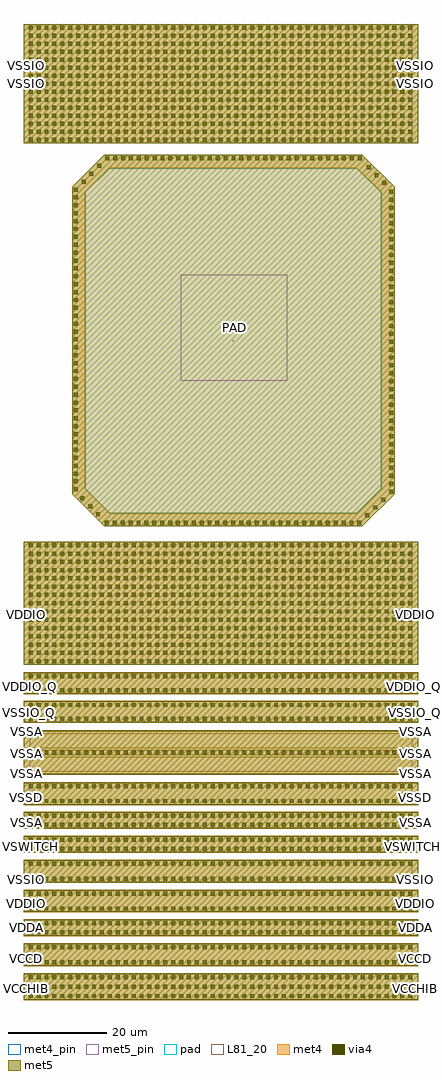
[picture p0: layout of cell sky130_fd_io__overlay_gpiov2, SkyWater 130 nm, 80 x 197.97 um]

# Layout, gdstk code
import gdstk
lib = gdstk.Library(unit=1e-6, precision=1e-09)
def R(c, l, rs):  # rectangles x0, y0, x1, y1
    for r in rs: c.add(gdstk.rectangle(r[:2], r[2:], *l))
def A(c, l, x, y, w, h, nx, ny, dx, dy):  # array of equal rectangles
    R(c, l, [(x+i*dx, y+j*dy, x+i*dx+w, y+j*dy+h) for i in range(nx) for j in range(ny)])
def P(c, l, *ps):  # polygons
    for p in ps: c.add(gdstk.Polygon(p, *l))
met4_pin = (71, 16)
met4 = (71, 20)
via4 = (71, 44)
met5_pin = (72, 16)
met5 = (72, 20)
pad = (76, 20)
L81_20 = (81, 20)

sky130_fd_io__com_bus_sl = lib.new_cell('sky130_fd_io__com_bus_slice_m4')
R(sky130_fd_io__com_bus_sl, met4, [(0,31.575,5,37.025), (0,38.425,5,43.075), (0,44.475,5,47.925), (0,49.325,5,53.975), (0,55.375,5,60.025), (0,61.425,5,64.875), (0,66.275,5,69.725), (0,71.125,5,75.775), (0,77.275,5,77.605), (0,77.905,5,80.885), (0,81.185,5,82.365), (0,82.665,5,85.645), (0,85.945,5,86.275), (0,87.775,5,92.225), (0,93.625,5,98.075), (0,99.575,5,124.54), (0,205.325,5,229.54)])

sky130_fd_pr__gendlring_ = lib.new_cell('sky130_fd_pr__gendlring__example_559591418081')

sky130_fd_pr__genrivetdl = lib.new_cell('sky130_fd_pr__genrivetdlring__example_559591418082')
A(sky130_fd_pr__genrivetdl, via4, 6.355, 0, 0.8, 0.8, 33, 1, 1.6, 0)
A(sky130_fd_pr__genrivetdl, via4, 63.98, 6.355, 0.8, 0.8, 1, 39, 0, 1.6)
A(sky130_fd_pr__genrivetdl, via4, 0, 6.825, 0.8, 0.8, 1, 39, 0, 1.6)
A(sky130_fd_pr__genrivetdl, via4, 6.425, 73.98, 0.8, 0.8, 33, 1, 1.6, 0)
R(sky130_fd_pr__genrivetdl, via4, [(59.165,1.54,59.965,2.34), (4.545,1.81,5.345,2.61), (60.765,3.14,61.565,3.94), (2.945,3.41,3.745,4.21), (62.365,4.74,63.165,5.54), (1.345,5.01,2.145,5.81), (62.635,68.97,63.435,69.77), (1.615,69.24,2.415,70.04), (61.035,70.57,61.835,71.37), (3.215,70.84,4.015,71.64), (59.435,72.17,60.235,72.97), (4.815,72.44,5.615,73.24)])

sky130_fd_pr__padplhp__e = lib.new_cell('sky130_fd_pr__padplhp__example_559591418080')
P(sky130_fd_pr__padplhp__e, met4, [(4.95,70),(0,65.05),(0,4.95),(-2.7,3.83),(-2.7,66.17),(3.83,72.7)],
  [(60,65.05),(55.05,70),(4.95,70),(3.83,72.7),(56.17,72.7),(62.7,66.17)],
  [(55.05,0),(60,4.95),(60,65.05),(62.7,66.17),(62.7,3.83),(56.17,-2.7)],
  [(0,4.95),(4.95,0),(55.05,0),(56.17,-2.7),(3.83,-2.7),(-2.7,3.83)])
P(sky130_fd_pr__padplhp__e, met5, [(3.83,-2.7),(56.17,-2.7),(62.7,3.83),(62.7,66.17),(56.17,72.7),(3.83,72.7),(-2.7,66.17),(-2.7,3.83)])
P(sky130_fd_pr__padplhp__e, pad, [(4.95,0),(55.05,0),(60,4.95),(60,65.05),(55.05,70),(4.95,70),(0,65.05),(0,4.95)])
R(sky130_fd_pr__padplhp__e, L81_20, [(29.9,34.9,30.1,35.1)])
sky130_fd_pr__padplhp__e.add(gdstk.Reference(sky130_fd_pr__gendlring_, (0,0)))
sky130_fd_pr__padplhp__e.add(gdstk.Reference(sky130_fd_pr__genrivetdl, (-2.39,-2.39)))
sky130_fd_pr__padplhp__e.add(gdstk.Label('HP', (30,33.333), layer=83, texttype=44))
sky130_fd_pr__padplhp__e.add(gdstk.Label('PLASTIC', (30,35), layer=83, texttype=44))
sky130_fd_pr__padplhp__e.add(gdstk.Label('PLASTIC', (30,35), layer=83, texttype=44))

sky130_fd_io__top_gpio_p = lib.new_cell('sky130_fd_io__top_gpio_pad')
sky130_fd_io__top_gpio_p.add(gdstk.Reference(sky130_fd_pr__padplhp__e, (7.5,97.655)))

sky130_fd_io__overlay_gp = lib.new_cell('sky130_fd_io__overlay_gpiov2_m4')
R(sky130_fd_io__overlay_gp, met4_pin, [(0,2.035,1.27,7.485), (78.73,2.035,80,7.485), (0,8.885,1.27,13.535), (78.73,8.885,80,13.535), (0,14.935,0.965,18.385), (79.035,14.935,80,18.385), (0,19.785,1.27,24.435), (78.73,19.785,80,24.435), (0,25.835,1.27,30.485), (78.73,25.835,80,30.485), (0,31.885,1.27,35.335), (78.73,31.885,80,35.335), (0,36.735,1.27,40.185), (78.73,36.735,80,40.185), (0,41.585,1.27,46.235), (78.73,41.585,80,46.235), (0,47.735,1.27,48.065), (78.73,47.735,80,48.065), (0,48.365,1.27,51.345), (78.73,48.365,80,51.345), (0,51.645,1.27,52.825), (78.73,51.645,80,52.825), (0,53.125,1.27,56.105), (78.73,53.125,80,56.105), (0,56.405,1.27,56.735), (78.73,56.405,80,56.735), (0,58.235,1.27,62.685), (78.73,58.235,80,62.685), (0,64.085,1.27,68.535), (78.73,64.085,80,68.535), (0,70.035,1.27,95), (78.73,70.035,80,95), (0,175.785,1.27,200), (78.73,175.785,80,200)])
R(sky130_fd_io__overlay_gp, met5_pin, [(31.83,127.59,53.37,149.135)])
sky130_fd_io__overlay_gp.add(gdstk.Reference(sky130_fd_io__com_bus_sl, (5,-29.54)))
sky130_fd_io__overlay_gp.add(gdstk.Reference(sky130_fd_io__com_bus_sl, (10,-29.54)))
sky130_fd_io__overlay_gp.add(gdstk.Reference(sky130_fd_io__com_bus_sl, (15,-29.54)))
sky130_fd_io__overlay_gp.add(gdstk.Reference(sky130_fd_io__com_bus_sl, (25,-29.54)))
sky130_fd_io__overlay_gp.add(gdstk.Reference(sky130_fd_io__com_bus_sl, (30,-29.54)))
sky130_fd_io__overlay_gp.add(gdstk.Reference(sky130_fd_io__com_bus_sl, (20,-29.54)))
sky130_fd_io__overlay_gp.add(gdstk.Reference(sky130_fd_io__com_bus_sl, (35,-29.54)))
sky130_fd_io__overlay_gp.add(gdstk.Reference(sky130_fd_io__com_bus_sl, (40,-29.54)))
sky130_fd_io__overlay_gp.add(gdstk.Reference(sky130_fd_io__com_bus_sl, (45,-29.54)))
sky130_fd_io__overlay_gp.add(gdstk.Reference(sky130_fd_io__com_bus_sl, (50,-29.54)))
sky130_fd_io__overlay_gp.add(gdstk.Reference(sky130_fd_io__com_bus_sl, (75,-29.54)))
sky130_fd_io__overlay_gp.add(gdstk.Reference(sky130_fd_io__com_bus_sl, (70,-29.54)))
sky130_fd_io__overlay_gp.add(gdstk.Reference(sky130_fd_io__com_bus_sl, (65,-29.54)))
sky130_fd_io__overlay_gp.add(gdstk.Reference(sky130_fd_io__com_bus_sl, (60,-29.54)))
sky130_fd_io__overlay_gp.add(gdstk.Reference(sky130_fd_io__com_bus_sl, (55,-29.54)))
sky130_fd_io__overlay_gp.add(gdstk.Reference(sky130_fd_io__com_bus_sl, (0,-29.54)))
sky130_fd_io__overlay_gp.add(gdstk.Reference(sky130_fd_io__top_gpio_p, (5,3.13)))
sky130_fd_io__overlay_gp.add(gdstk.Label('AMUXBUS_B', (0.635,49.245), layer=71, texttype=5))
sky130_fd_io__overlay_gp.add(gdstk.Label('VSSD', (0.635,43.135), layer=71, texttype=5))
sky130_fd_io__overlay_gp.add(gdstk.Label('VSSA', (0.635,38.09), layer=71, texttype=5))
sky130_fd_io__overlay_gp.add(gdstk.Label('VSSA', (0.635,56.565), layer=71, texttype=5))
sky130_fd_io__overlay_gp.add(gdstk.Label('AMUXBUS_A', (0.635,54.595), layer=71, texttype=5))
sky130_fd_io__overlay_gp.add(gdstk.Label('VDDA', (0.48,16.74), layer=71, texttype=5))
sky130_fd_io__overlay_gp.add(gdstk.Label('VSSIO', (0.635,26.545), layer=71, texttype=5))
sky130_fd_io__overlay_gp.add(gdstk.Label('VSSIO_Q', (0.635,60.4), layer=71, texttype=5))
sky130_fd_io__overlay_gp.add(gdstk.Label('VSSA', (0.635,52.03), layer=71, texttype=5))
sky130_fd_io__overlay_gp.add(gdstk.Label('VCCHIB', (0.635,4.385), layer=71, texttype=5))
sky130_fd_io__overlay_gp.add(gdstk.Label('VSWITCH', (0.635,33.235), layer=71, texttype=5))
sky130_fd_io__overlay_gp.add(gdstk.Label('VSSA', (0.635,47.895), layer=71, texttype=5))
sky130_fd_io__overlay_gp.add(gdstk.Label('VCCD', (0.635,10.435), layer=71, texttype=5))
sky130_fd_io__overlay_gp.add(gdstk.Label('VDDIO', (0.635,80.15), layer=71, texttype=5))
sky130_fd_io__overlay_gp.add(gdstk.Label('VDDIO_Q', (0.635,65.635), layer=71, texttype=5))
sky130_fd_io__overlay_gp.add(gdstk.Label('VDDIO', (0.635,21.61), layer=71, texttype=5))
sky130_fd_io__overlay_gp.add(gdstk.Label('VSSIO', (0.635,191.605), layer=71, texttype=5))
sky130_fd_io__overlay_gp.add(gdstk.Label('VDDIO', (79.365,80.15), layer=71, texttype=5))
sky130_fd_io__overlay_gp.add(gdstk.Label('AMUXBUS_B', (79.365,49.245), layer=71, texttype=5))
sky130_fd_io__overlay_gp.add(gdstk.Label('VCCD', (79.365,10.435), layer=71, texttype=5))
sky130_fd_io__overlay_gp.add(gdstk.Label('VDDIO_Q', (79.365,65.635), layer=71, texttype=5))
sky130_fd_io__overlay_gp.add(gdstk.Label('VSSA', (79.365,38.09), layer=71, texttype=5))
sky130_fd_io__overlay_gp.add(gdstk.Label('VSSA', (79.365,47.895), layer=71, texttype=5))
sky130_fd_io__overlay_gp.add(gdstk.Label('VDDIO', (79.365,21.61), layer=71, texttype=5))
sky130_fd_io__overlay_gp.add(gdstk.Label('VCCHIB', (79.365,4.385), layer=71, texttype=5))
sky130_fd_io__overlay_gp.add(gdstk.Label('VSSA', (79.365,56.565), layer=71, texttype=5))
sky130_fd_io__overlay_gp.add(gdstk.Label('VSSA', (79.365,52.03), layer=71, texttype=5))
sky130_fd_io__overlay_gp.add(gdstk.Label('VSWITCH', (79.365,33.235), layer=71, texttype=5))
sky130_fd_io__overlay_gp.add(gdstk.Label('VSSIO', (79.365,26.545), layer=71, texttype=5))
sky130_fd_io__overlay_gp.add(gdstk.Label('VSSIO_Q', (79.365,60.4), layer=71, texttype=5))
sky130_fd_io__overlay_gp.add(gdstk.Label('VDDA', (79.52,16.74), layer=71, texttype=5))
sky130_fd_io__overlay_gp.add(gdstk.Label('VSSD', (79.365,43.135), layer=71, texttype=5))
sky130_fd_io__overlay_gp.add(gdstk.Label('AMUXBUS_A', (79.365,54.595), layer=71, texttype=5))
sky130_fd_io__overlay_gp.add(gdstk.Label('VSSIO', (79.365,186.86), layer=71, texttype=5))
sky130_fd_io__overlay_gp.add(gdstk.Label('PAD', (42.6,138.365), layer=72, texttype=5))

c_sky130_fd_io__overlay_gp = lib.new_cell('sky130_fd_io__overlay_gpiov2')
R(c_sky130_fd_io__overlay_gp, met4_pin, [(0,2.035,1.27,7.485), (78.73,2.035,80,7.485), (0,8.885,1.27,13.535), (78.73,8.885,80,13.535), (0,14.935,0.965,18.385), (79.035,14.935,80,18.385), (0,19.785,1.27,24.435), (78.73,19.785,80,24.435), (0,25.835,1.27,30.485), (78.73,25.835,80,30.485), (0,31.885,1.27,35.335), (78.73,31.885,80,35.335), (0,36.735,1.27,40.185), (78.73,36.735,80,40.185), (0,41.585,1.27,46.235), (78.73,41.585,80,46.235), (0,47.735,1.27,48.065), (78.73,47.735,80,48.065), (0,48.365,1.27,51.345), (78.73,48.365,80,51.345), (0,51.645,1.27,52.825), (78.73,51.645,80,52.825), (0,53.125,1.27,56.105), (78.73,53.125,80,56.105), (0,56.405,1.27,56.735), (78.73,56.405,80,56.735), (0,58.235,1.27,62.685), (78.73,58.235,80,62.685), (0,64.085,1.27,68.535), (78.73,64.085,80,68.535), (0,70.035,1.27,95), (78.73,70.035,80,95), (0,175.785,1.27,200), (78.73,175.785,80,200)])
R(c_sky130_fd_io__overlay_gp, met4, [(0.81,2.255,78.97,7.265), (0.815,9.105,78.965,13.315), (0.81,15.155,78.97,18.165), (0.805,20.005,78.965,24.215), (0.805,26.055,78.97,30.265), (0.81,32.105,78.97,35.115), (0.81,36.955,78.975,39.965), (0.81,41.805,78.965,46.015), (0.81,51.645,78.97,52.825), (0.81,58.455,78.975,62.465), (0.81,64.305,78.97,68.315), (0.81,70.155,78.97,94.865), (0.81,175.91,78.97,199.88)])
A(c_sky130_fd_io__overlay_gp, via4, 1, 2.45, 0.8, 0.8, 37, 3, 1.605, 1.91)
A(c_sky130_fd_io__overlay_gp, via4, 60.38, 2.45, 0.8, 0.8, 12, 3, 1.6, 1.91)
A(c_sky130_fd_io__overlay_gp, via4, 1.005, 9.295, 0.8, 0.8, 35, 2, 1.605, 3.03)
A(c_sky130_fd_io__overlay_gp, via4, 57.175, 9.295, 0.8, 0.8, 14, 2, 1.6, 3.03)
A(c_sky130_fd_io__overlay_gp, via4, 1, 15.345, 0.8, 0.8, 37, 2, 1.605, 1.83)
A(c_sky130_fd_io__overlay_gp, via4, 60.38, 15.345, 0.8, 0.8, 12, 2, 1.6, 1.83)
A(c_sky130_fd_io__overlay_gp, via4, 0.995, 20.195, 0.8, 0.8, 37, 2, 1.605, 3.03)
A(c_sky130_fd_io__overlay_gp, via4, 60.375, 20.195, 0.8, 0.8, 12, 2, 1.6, 3.03)
A(c_sky130_fd_io__overlay_gp, via4, 0.995, 26.245, 0.8, 0.8, 38, 2, 1.605, 3.03)
A(c_sky130_fd_io__overlay_gp, via4, 61.98, 26.245, 0.8, 0.8, 11, 2, 1.6, 3.03)
A(c_sky130_fd_io__overlay_gp, via4, 1, 32.295, 0.8, 0.8, 37, 2, 1.605, 1.83)
A(c_sky130_fd_io__overlay_gp, via4, 60.38, 32.295, 0.8, 0.8, 12, 2, 1.6, 1.83)
A(c_sky130_fd_io__overlay_gp, via4, 1, 37.145, 0.8, 0.8, 38, 2, 1.605, 1.83)
A(c_sky130_fd_io__overlay_gp, via4, 61.985, 37.145, 0.8, 0.8, 11, 2, 1.6, 1.83)
A(c_sky130_fd_io__overlay_gp, via4, 1, 41.995, 0.8, 0.8, 36, 2, 1.605, 3.03)
A(c_sky130_fd_io__overlay_gp, via4, 58.775, 41.995, 0.8, 0.8, 13, 2, 1.6, 3.03)
A(c_sky130_fd_io__overlay_gp, via4, 1, 51.835, 0.8, 0.8, 37, 2, 1.605, 12.66)
A(c_sky130_fd_io__overlay_gp, via4, 60.38, 51.835, 0.8, 0.8, 12, 2, 1.6, 12.66)
A(c_sky130_fd_io__overlay_gp, via4, 1, 58.645, 0.8, 0.8, 38, 2, 1.605, 2.83)
A(c_sky130_fd_io__overlay_gp, via4, 61.985, 58.645, 0.8, 0.8, 11, 2, 1.6, 2.83)
A(c_sky130_fd_io__overlay_gp, via4, 1, 67.325, 0.8, 0.8, 37, 2, 1.605, 3.025)
A(c_sky130_fd_io__overlay_gp, via4, 60.38, 67.325, 0.8, 0.8, 12, 2, 1.6, 3.025)
A(c_sky130_fd_io__overlay_gp, via4, 1, 72.03, 0.8, 0.8, 37, 14, 1.605, 1.68)
A(c_sky130_fd_io__overlay_gp, via4, 60.38, 72.03, 0.8, 0.8, 12, 14, 1.6, 1.68)
A(c_sky130_fd_io__overlay_gp, via4, 1, 176.155, 0.8, 0.8, 37, 15, 1.605, 1.62)
A(c_sky130_fd_io__overlay_gp, via4, 60.38, 176.155, 0.8, 0.8, 12, 15, 1.6, 1.62)
R(c_sky130_fd_io__overlay_gp, met5_pin, [(0,2.135,1.27,7.385), (78.73,2.135,80,7.385), (0,8.985,1.27,13.435), (78.73,8.985,80,13.435), (0,15.035,0.965,18.285), (79.035,15.035,80,18.285), (0,19.885,1.27,24.335), (78.73,19.885,80,24.335), (0,25.935,1.27,30.385), (78.73,25.935,80,30.385), (0,31.985,1.27,35.235), (78.73,31.985,80,35.235), (0,36.84,1.27,40.085), (78.73,36.84,80,40.085), (0,41.685,1.27,46.135), (78.73,41.685,80,46.135), (0,47.735,1.27,56.735), (78.73,47.735,80,56.735), (0,58.335,1.27,62.585), (78.73,58.335,80,62.585), (0,64.185,1.27,68.435), (78.73,64.185,80,68.435), (0,70.035,1.27,94.985), (78.73,70.035,80,94.985), (31.87,127.605,53.41,149.15), (0,175.785,1.27,200), (78.73,175.785,80,200)])
R(c_sky130_fd_io__overlay_gp, met5, [(0,2.135,80,7.385), (0.69,2.135,79.09,7.385), (0,8.985,80,13.435), (0.695,8.985,79.085,13.435), (0,15.035,80,18.285), (0.69,15.035,79.09,18.285), (0,19.885,80,24.335), (0.685,19.885,79.085,24.335), (0,25.935,80,30.385), (0.685,25.935,79.09,30.385), (0,31.985,80,35.235), (0.69,31.985,79.09,35.235), (0,36.835,80,40.085), (0.69,36.835,79.095,40.085), (0,41.685,80,46.135), (0.69,41.685,79.085,46.135), (0,47.735,80,56.735), (0.69,51.525,79.09,52.945), (0,58.335,80,62.585), (0.69,58.335,79.095,62.585), (0,64.185,80,68.435), (0.69,64.185,79.09,68.435), (0,70.035,80,94.985), (0.69,70.035,79.09,94.985), (0,175.785,80,200), (0.69,175.79,79.09,200)])
c_sky130_fd_io__overlay_gp.add(gdstk.Reference(sky130_fd_io__overlay_gp, (0,0)))
c_sky130_fd_io__overlay_gp.add(gdstk.Label('PAD', (42.64,138.38), layer=72, texttype=5))
c_sky130_fd_io__overlay_gp.add(gdstk.Label('VSSIO', (0.635,191.605), layer=72, texttype=5))
c_sky130_fd_io__overlay_gp.add(gdstk.Label('VSSIO', (79.365,191.605), layer=72, texttype=5))
c_sky130_fd_io__overlay_gp.add(gdstk.Label('VDDIO', (79.365,21.61), layer=72, texttype=5))
c_sky130_fd_io__overlay_gp.add(gdstk.Label('VCCHIB', (79.365,4.385), layer=72, texttype=5))
c_sky130_fd_io__overlay_gp.add(gdstk.Label('VDDIO', (79.365,80.15), layer=72, texttype=5))
c_sky130_fd_io__overlay_gp.add(gdstk.Label('VDDIO_Q', (79.365,65.635), layer=72, texttype=5))
c_sky130_fd_io__overlay_gp.add(gdstk.Label('VCCD', (79.365,10.435), layer=72, texttype=5))
c_sky130_fd_io__overlay_gp.add(gdstk.Label('VSSA', (79.365,38.09), layer=72, texttype=5))
c_sky130_fd_io__overlay_gp.add(gdstk.Label('VSWITCH', (79.365,33.235), layer=72, texttype=5))
c_sky130_fd_io__overlay_gp.add(gdstk.Label('VSSIO', (79.365,26.545), layer=72, texttype=5))
c_sky130_fd_io__overlay_gp.add(gdstk.Label('VSSIO_Q', (79.365,60.4), layer=72, texttype=5))
c_sky130_fd_io__overlay_gp.add(gdstk.Label('VSSD', (79.365,43.135), layer=72, texttype=5))
c_sky130_fd_io__overlay_gp.add(gdstk.Label('VDDA', (79.52,16.74), layer=72, texttype=5))
c_sky130_fd_io__overlay_gp.add(gdstk.Label('VSSA', (79.365,52.025), layer=72, texttype=5))
c_sky130_fd_io__overlay_gp.add(gdstk.Label('VCCHIB', (0.635,4.385), layer=72, texttype=5))
c_sky130_fd_io__overlay_gp.add(gdstk.Label('VSSA', (0.635,38.09), layer=72, texttype=5))
c_sky130_fd_io__overlay_gp.add(gdstk.Label('VSSA', (0.635,52.025), layer=72, texttype=5))
c_sky130_fd_io__overlay_gp.add(gdstk.Label('VDDIO_Q', (0.635,65.635), layer=72, texttype=5))
c_sky130_fd_io__overlay_gp.add(gdstk.Label('VCCD', (0.635,10.435), layer=72, texttype=5))
c_sky130_fd_io__overlay_gp.add(gdstk.Label('VDDIO', (0.635,21.61), layer=72, texttype=5))
c_sky130_fd_io__overlay_gp.add(gdstk.Label('VDDA', (0.48,16.74), layer=72, texttype=5))
c_sky130_fd_io__overlay_gp.add(gdstk.Label('VSSIO', (0.635,26.545), layer=72, texttype=5))
c_sky130_fd_io__overlay_gp.add(gdstk.Label('VSWITCH', (0.635,33.235), layer=72, texttype=5))
c_sky130_fd_io__overlay_gp.add(gdstk.Label('VSSIO_Q', (0.635,60.4), layer=72, texttype=5))
c_sky130_fd_io__overlay_gp.add(gdstk.Label('VSSD', (0.635,43.135), layer=72, texttype=5))
c_sky130_fd_io__overlay_gp.add(gdstk.Label('VDDIO', (0.635,80.15), layer=72, texttype=5))
c_sky130_fd_io__overlay_gp.add(gdstk.Label('VSWITCH', (0.635,33.61), layer=71, texttype=5))
c_sky130_fd_io__overlay_gp.add(gdstk.Label('VSWITCH', (79.365,33.61), layer=71, texttype=5))
c_sky130_fd_io__overlay_gp.add(gdstk.Label('VSSIO_Q', (0.635,60.46), layer=71, texttype=5))
c_sky130_fd_io__overlay_gp.add(gdstk.Label('VSSIO_Q', (79.365,60.46), layer=71, texttype=5))
c_sky130_fd_io__overlay_gp.add(gdstk.Label('VSSIO', (0.635,28.16), layer=71, texttype=5))
c_sky130_fd_io__overlay_gp.add(gdstk.Label('VSSIO', (0.635,187.892), layer=71, texttype=5))
c_sky130_fd_io__overlay_gp.add(gdstk.Label('VSSIO', (79.365,28.16), layer=71, texttype=5))
c_sky130_fd_io__overlay_gp.add(gdstk.Label('VSSIO', (79.365,187.892), layer=71, texttype=5))
c_sky130_fd_io__overlay_gp.add(gdstk.Label('VSSD', (0.635,43.91), layer=71, texttype=5))
c_sky130_fd_io__overlay_gp.add(gdstk.Label('VSSD', (79.365,43.91), layer=71, texttype=5))
c_sky130_fd_io__overlay_gp.add(gdstk.Label('VSSA', (0.635,38.46), layer=71, texttype=5))
c_sky130_fd_io__overlay_gp.add(gdstk.Label('VSSA', (0.635,56.57), layer=71, texttype=5))
c_sky130_fd_io__overlay_gp.add(gdstk.Label('VSSA', (0.635,52.235), layer=71, texttype=5))
c_sky130_fd_io__overlay_gp.add(gdstk.Label('VSSA', (0.635,47.9), layer=71, texttype=5))
c_sky130_fd_io__overlay_gp.add(gdstk.Label('VSSA', (79.365,38.46), layer=71, texttype=5))
c_sky130_fd_io__overlay_gp.add(gdstk.Label('VSSA', (79.365,47.9), layer=71, texttype=5))
c_sky130_fd_io__overlay_gp.add(gdstk.Label('VSSA', (79.365,56.57), layer=71, texttype=5))
c_sky130_fd_io__overlay_gp.add(gdstk.Label('VSSA', (79.365,52.235), layer=71, texttype=5))
c_sky130_fd_io__overlay_gp.add(gdstk.Label('VDDIO_Q', (0.635,66.31), layer=71, texttype=5))
c_sky130_fd_io__overlay_gp.add(gdstk.Label('VDDIO_Q', (79.365,66.31), layer=71, texttype=5))
c_sky130_fd_io__overlay_gp.add(gdstk.Label('VDDIO', (0.635,82.518), layer=71, texttype=5))
c_sky130_fd_io__overlay_gp.add(gdstk.Label('VDDIO', (0.635,22.11), layer=71, texttype=5))
c_sky130_fd_io__overlay_gp.add(gdstk.Label('VDDIO', (79.365,82.518), layer=71, texttype=5))
c_sky130_fd_io__overlay_gp.add(gdstk.Label('VDDIO', (79.365,22.11), layer=71, texttype=5))
c_sky130_fd_io__overlay_gp.add(gdstk.Label('VDDA', (0.483,16.66), layer=71, texttype=5))
c_sky130_fd_io__overlay_gp.add(gdstk.Label('VDDA', (79.518,16.66), layer=71, texttype=5))
c_sky130_fd_io__overlay_gp.add(gdstk.Label('VCCHIB', (0.635,4.76), layer=71, texttype=5))
c_sky130_fd_io__overlay_gp.add(gdstk.Label('VCCHIB', (79.365,4.76), layer=71, texttype=5))
c_sky130_fd_io__overlay_gp.add(gdstk.Label('AMUXBUS_A', (79.365,54.615), layer=71, texttype=5))
c_sky130_fd_io__overlay_gp.add(gdstk.Label('AMUXBUS_A', (0.635,54.615), layer=71, texttype=5))
c_sky130_fd_io__overlay_gp.add(gdstk.Label('AMUXBUS_B', (79.365,49.855), layer=71, texttype=5))
c_sky130_fd_io__overlay_gp.add(gdstk.Label('AMUXBUS_B', (0.635,49.855), layer=71, texttype=5))
c_sky130_fd_io__overlay_gp.add(gdstk.Label('VCCD', (79.365,11.21), layer=71, texttype=5))
c_sky130_fd_io__overlay_gp.add(gdstk.Label('VCCD', (0.635,11.21), layer=71, texttype=5))

lib.write_gds('sky130_fd_io__overlay_gpiov2.gds')
